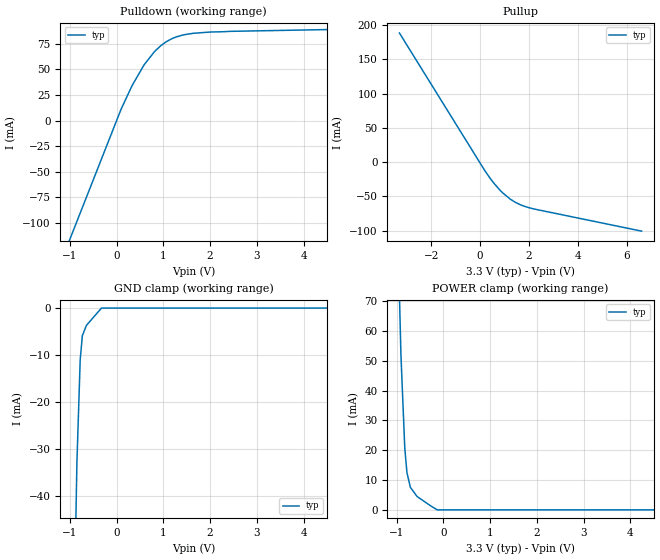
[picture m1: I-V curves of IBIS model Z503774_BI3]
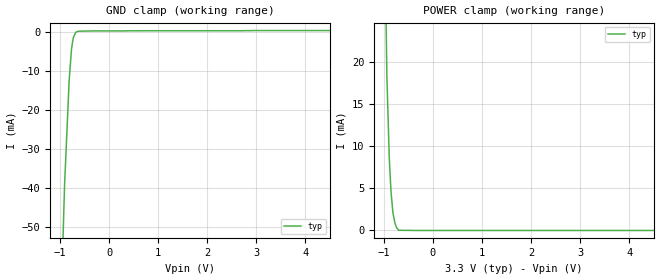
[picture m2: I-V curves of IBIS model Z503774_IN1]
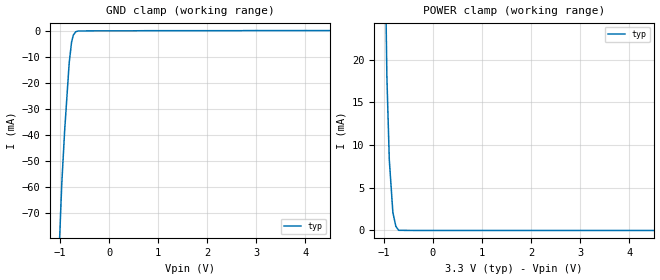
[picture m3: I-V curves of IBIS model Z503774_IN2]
| YOU ARE ONLY AUTHORIZED TO USE THIS SOFTWARE
| ACCORDING TO LICENSOR'S LICENSE RESTRICTIONS.
[IBIS Ver] 3.1
[File Name] mc74ac299n_33.ibs
[File Rev] 2.0
[Source] Measured and created by ICX Technology
[Date] Friday 7/14/00 9:07:59 AM
[Copyright]
| (C) COPYRIGHT 1993-2000
| MENTOR GRAPHICS CORPORATION
| ICX STANDARD LIBRARY, ICX PROJECT MODELING,
| ICX CUSTOM MODELING, ICX VENDOR MODEL
| ALL RIGHTS RESERVED.
| THE FOLLOWING ARE TRADEMARKS OR SERVICE MARKS OF
| MENTOR GRAPHICS CORPORATION:ICX (R), ICX STANDARD
| LIBRARY(R), ICX PROJECT MODELING(R), ICX CUSTOM
| MODELING(R), qualityIBIS(TM), MODELVIEWER(TM),
| AND MODELEDITOR(TM)
| ALL COPIES OF SOFTWARE, INCLUDING BUT NOT LIMITED TO
| ANY MODIFICATIONS, ENHANCEMENTS OR DERIVATIVE WORKS,
| MUST CONTAIN ALL MENTOR GRAPHICS CORPORATION'S
| NOTICES AND LEGENDS, INCLUDING THOSE EMBEDDED IN
| SOFTWARE AND THOSE AFFIXED TO SOFTWARE MEDIUM
| AND CONTAINER, AS RECEIVED FROM MENTOR GRAPHICS
| CORPORATION.
|  ZAP Model Builder 2.7
[Component] MC74AC299N_33
[Manufacturer] OnSemiconductor
[Package]
| variable   typ   min   max
R_pkg  .216ohms NA NA
L_pkg  5.76nH NA NA
C_pkg  1.29pF NA NA
[Pin] signal_name  model_name  R_pin  L_pin C_pin
1 S0 Z503774_IN1 .232 9.76n 1.87p
2 _G1 Z503774_IN2 .224 7.26n 1.58p
3 _G2 Z503774_IN2 .216 5.26n 1.29p
4 G_QG Z503774_BI3 .208 3.76n 1.0p
5 E_QE Z503774_BI3 .2 2.76n .71p
6 C_QC Z503774_BI3 .2 2.76n .71p
7 A_QA Z503774_BI3 .208 3.76n 1.0p
8 QAP Z503774_OUT4 .216 5.26n 1.29p
9 _CLR Z503774_IN5 .224 7.26n 1.58p
10 GND GND .232 9.76n 1.87p
11 SR Z503774_IN6 .232 9.76n 1.87p
12 CLK Z503774_IN7 .224 7.26n 1.58p
13 B_QB Z503774_BI3 .216 5.26n 1.29p
14 D_QD Z503774_BI3 .208 3.76n 1.0p
15 F_QF Z503774_BI3 .2 2.76n .71p
16 H_QH Z503774_BI3 .2 2.76n .71p
17 QH Z503774_OUT4 .208 3.76n 1.0p
18 SL Z503774_IN6 .216 5.26n 1.29p
19 S1 Z503774_IN1 .224 7.26n 1.58p
20 VCC POWER .232 9.76n 1.87p
| Models and submodels in the file (7): Z503774_BI3 (I/O), Z503774_IN1 (Input), Z503774_IN2 (Input), Z503774_IN5 (Input), Z503774_IN6 (Input), Z503774_IN7 (Input), Z503774_OUT4 (Output)
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| (C) COPYRIGHT 1993-2000
| MENTOR GRAPHICS CORPORATION
| ICX STANDARD LIBRARY, ICX PROJECT MODELING,
| ICX CUSTOM MODELING, ICX VENDOR MODEL
| ALL RIGHTS RESERVED.
| THE FOLLOWING ARE TRADEMARKS OR SERVICE MARKS OF
| MENTOR GRAPHICS CORPORATION:ICX (R), ICX STANDARD
| LIBRARY(R), ICX PROJECT MODELING(R), ICX CUSTOM
| MODELING(R), qualityIBIS(TM), MODELVIEWER(TM),
| AND MODELEDITOR(TM)
| ALL COPIES OF SOFTWARE, INCLUDING BUT NOT LIMITED TO
| ANY MODIFICATIONS, ENHANCEMENTS OR DERIVATIVE WORKS,
| MUST CONTAIN ALL MENTOR GRAPHICS CORPORATION'S
| NOTICES AND LEGENDS, INCLUDING THOSE EMBEDDED IN
| SOFTWARE AND THOSE AFFIXED TO SOFTWARE MEDIUM
| AND CONTAINER, AS RECEIVED FROM MENTOR GRAPHICS
| CORPORATION.
| Model Application Version 1.89 2/18/99.
[Model] Z503774_BI3
Model_type I/O
Vinl=990.0mV
Vinh=2.310V
Vref=0.000V
Rref=500.0ohms
Cref=50.00pF
Vmeas=1.650V
C_comp 8.000pF NA NA
| variable typ   min   max
[Voltage Range] 3.300V NA NA
[POWER Clamp Reference] 3.300V NA NA
[Pullup Reference] 3.300V NA NA
[Pulldown Reference] 0.000V NA NA
[GND Clamp Reference] 0.000V NA NA
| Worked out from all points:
|   slope of the pulldown table from 0 to 0.495 V, typ, clamps not added: 10.5 ohm
|   slope of the pullup table from 0 to 0.495 V, typ, clamps not added: 18.9 ohm
|   POWER clamp passes 1 mA (typ) near -0.24 V on its own axis
[GND Clamp]
-3.3V     -1.162A    NA         NA
-1.055V   -146.5mA   NA         NA
-848.2mV  -32.98mA   NA         NA
-777.6mV  -10.99mA   NA         NA
-731.4mV  -5.87mA    NA         NA
-645.1mV  -3.692mA   NA         NA
-322.5mV  0A         NA         NA
6.6V      0A         NA         NA
[Pulldown]
-3.3V     -384.2mA   NA         NA
95.1mV    10.84mA    NA         NA
332.6mV   34.22mA    NA         NA
588.4mV   54.48mA    NA         NA
812.1mV   67.53mA    NA         NA
947.6mV   73.32mA    NA         NA
1.178V    80.03mA    NA         NA
1.472V    84.27mA    NA         NA
2.03V     86.73mA    NA         NA
6.6V      90.87mA    NA         NA
[Pullup]
-3.3V     188.5mA    NA         NA
184mV     -12.11mA   NA         NA
410mV     -23.82mA   NA         NA
811mV     -41.04mA   NA         NA
1.236V    -54.23mA   NA         NA
1.647V    -62.35mA   NA         NA
2.02V     -66.8mA    NA         NA
6.6V      -100.8mA   NA         NA
[POWER Clamp]
-3.3V     1.889A     NA         NA
-1.035V   131mA      NA         NA
-909mV    52.06mA    NA         NA
-827mV    20.83mA    NA         NA
-780mV    12.43mA    NA         NA
-706mV    7.531mA    NA         NA
-563mV    4.477mA    NA         NA
-264mV    1.248mA    NA         NA
-132mV    0A         NA         NA
6.6V      0A         NA         NA
[Ramp]
| variable typ min max
dV/dt_r 1.928/634.8p NA NA
dV/dt_f 1.928/1.045n NA NA
R_load = 500.0Ohms
| (C) COPYRIGHT 1993-2000
| MENTOR GRAPHICS CORPORATION
| ICX STANDARD LIBRARY, ICX PROJECT MODELING,
| ICX CUSTOM MODELING, ICX VENDOR MODEL
| ALL RIGHTS RESERVED.
| THE FOLLOWING ARE TRADEMARKS OR SERVICE MARKS OF
| MENTOR GRAPHICS CORPORATION:ICX (R), ICX STANDARD
| LIBRARY(R), ICX PROJECT MODELING(R), ICX CUSTOM
| MODELING(R), qualityIBIS(TM), MODELVIEWER(TM),
| AND MODELEDITOR(TM)
| ALL COPIES OF SOFTWARE, INCLUDING BUT NOT LIMITED TO
| ANY MODIFICATIONS, ENHANCEMENTS OR DERIVATIVE WORKS,
| MUST CONTAIN ALL MENTOR GRAPHICS CORPORATION'S
| NOTICES AND LEGENDS, INCLUDING THOSE EMBEDDED IN
| SOFTWARE AND THOSE AFFIXED TO SOFTWARE MEDIUM
| AND CONTAINER, AS RECEIVED FROM MENTOR GRAPHICS
| CORPORATION.
| Model Application Version 1.89 2/18/99.
[Model] Z503774_IN1
Model_type Input
Vinl = 990.0mV
Vinh = 2.310V
C_comp 4.000pF NA NA
| variable typ   min   max
[Voltage Range] 3.300V NA NA
[GND Clamp Reference] 0.000V NA NA
[POWER Clamp Reference] 3.300V NA NA
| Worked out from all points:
|   GND clamp passes 1 mA (typ) near -0.71 V on its own axis
|   POWER clamp passes 1 mA (typ) near -0.78 V on its own axis
[GND Clamp]
-3.3V     -1.82A     NA         NA
-1.045V   -97.32mA   NA         NA
-908.2mV  -39.18mA   NA         NA
-815.4mV  -12.55mA   NA         NA
-766.5mV  -4.361mA   NA         NA
-731.2mV  -1.554mA   NA         NA
-687.5mV  -338.8uA   NA         NA
-667.4mV  -91.72uA   NA         NA
-628mV    93.14uA    NA         NA
-314mV    168.4uA    NA         NA
6.6V      262.9uA    NA         NA
[POWER Clamp]
-3.3V     2.037A     NA         NA
-1.128V   120.8mA    NA         NA
-1.036V   58.48mA    NA         NA
-938mV    18.21mA    NA         NA
-889mV    8.541mA    NA         NA
-854mV    4.587mA    NA         NA
-816mV    2.149mA    NA         NA
-774mV    856.1uA    NA         NA
-737mV    302.6uA    NA         NA
-698mV    25.1uA     NA         NA
-349mV    0A         NA         NA
6.6V      0A         NA         NA
| (C) COPYRIGHT 1993-2000
| MENTOR GRAPHICS CORPORATION
| ICX STANDARD LIBRARY, ICX PROJECT MODELING,
| ICX CUSTOM MODELING, ICX VENDOR MODEL
| ALL RIGHTS RESERVED.
| THE FOLLOWING ARE TRADEMARKS OR SERVICE MARKS OF
| MENTOR GRAPHICS CORPORATION:ICX (R), ICX STANDARD
| LIBRARY(R), ICX PROJECT MODELING(R), ICX CUSTOM
| MODELING(R), qualityIBIS(TM), MODELVIEWER(TM),
| AND MODELEDITOR(TM)
| ALL COPIES OF SOFTWARE, INCLUDING BUT NOT LIMITED TO
| ANY MODIFICATIONS, ENHANCEMENTS OR DERIVATIVE WORKS,
| MUST CONTAIN ALL MENTOR GRAPHICS CORPORATION'S
| NOTICES AND LEGENDS, INCLUDING THOSE EMBEDDED IN
| SOFTWARE AND THOSE AFFIXED TO SOFTWARE MEDIUM
| AND CONTAINER, AS RECEIVED FROM MENTOR GRAPHICS
| CORPORATION.
| Model Application Version 1.89 2/18/99.
[Model] Z503774_IN2
Model_type Input
Vinl = 990.0mV
Vinh = 2.310V
C_comp 4.000pF NA NA
| variable typ   min   max
[Voltage Range] 3.300V NA NA
[GND Clamp Reference] 0.000V NA NA
[POWER Clamp Reference] 3.300V NA NA
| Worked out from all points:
|   GND clamp passes 1 mA (typ) near -0.71 V on its own axis
|   POWER clamp passes 1 mA (typ) near -0.77 V on its own axis
[GND Clamp]
-3.3V     -1.838A    NA         NA
-1.045V   -96.75mA   NA         NA
-966.4mV  -59mA      NA         NA
-908.2mV  -38.58mA   NA         NA
-815.4mV  -12.36mA   NA         NA
-766.6mV  -4.241mA   NA         NA
-731.7mV  -1.543mA   NA         NA
-667.5mV  -93.63uA   NA         NA
786.4mV   225.5uA    NA         NA
6.6V      268.8uA    NA         NA
[POWER Clamp]
-3.3V     2.005A     NA         NA
-1.129V   119.6mA    NA         NA
-1.036V   58.02mA    NA         NA
-938mV    17.99mA    NA         NA
-889mV    8.291mA    NA         NA
-816mV    2.101mA    NA         NA
-756mV    498.6uA    NA         NA
-698mV    17.8uA     NA         NA
-349mV    0A         NA         NA
6.6V      0A         NA         NA
